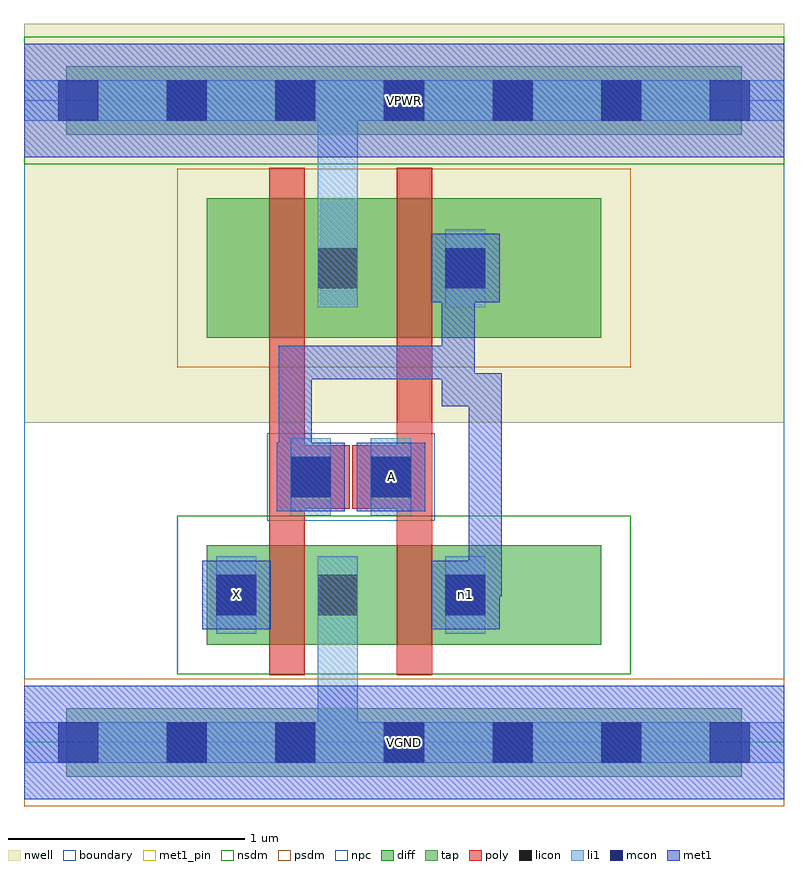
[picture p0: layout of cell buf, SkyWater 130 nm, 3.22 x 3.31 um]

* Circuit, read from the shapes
.subckt buf A VGND VPWR X n1
XM1 VGND n1 X VGND sky130_fd_pr__nfet_01v8 w=0.42 l=0.15
XM2 n1 A VGND VGND sky130_fd_pr__nfet_01v8 w=0.42 l=0.15
XM3 VPWR n1 n2 VPWR sky130_fd_pr__pfet_01v8 w=0.59 l=0.15
XM4 n1 A VPWR VPWR sky130_fd_pr__pfet_01v8 w=0.59 l=0.15
.ends

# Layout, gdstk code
import gdstk
lib = gdstk.Library(unit=1e-6, precision=1e-09)
def R(c, l, rs):  # rectangles x0, y0, x1, y1
    for r in rs: c.add(gdstk.rectangle(r[:2], r[2:], *l))
def A(c, l, x, y, w, h, nx, ny, dx, dy):  # array of equal rectangles
    R(c, l, [(x+i*dx, y+j*dy, x+i*dx+w, y+j*dy+h) for i in range(nx) for j in range(ny)])
nwell = (64, 20)
diff = (65, 20)
tap = (65, 44)
poly = (66, 20)
licon = (66, 44)
li1 = (67, 20)
mcon = (67, 44)
met1_pin = (68, 16)
met1 = (68, 20)
nsdm = (93, 44)
psdm = (94, 20)
npc = (95, 20)
boundary = (235, 4)

buf = lib.new_cell('buf')
R(buf, nwell, [(0,1.355,3.22,3.045)])
R(buf, diff, [(0.775,0.415,2.445,0.835), (0.775,1.715,2.445,2.305)])
R(buf, tap, [(0.18,-0.145,3.04,0.145), (0.18,2.575,3.04,2.865)])
R(buf, poly, [(1.04,0.285,1.19,2.435), (1.58,0.285,1.73,2.435), (1.05,0.99,1.38,1.26), (1.39,0.99,1.72,1.26)])
A(buf, licon, 0.605, -0.085, 0.17, 0.17, 5, 2, 0.46, 2.72)
R(buf, licon, [(0.815,0.54,0.985,0.71), (1.245,0.54,1.415,0.71), (1.785,0.54,1.955,0.71), (1.13,1.04,1.3,1.21), (1.47,1.04,1.64,1.21), (1.245,1.925,1.415,2.095), (1.785,1.925,1.955,2.095)])
R(buf, li1, [(0,-0.085,3.22,0.085), (1.245,-0.085,1.415,0.79), (0.815,0.46,0.985,0.79), (1.245,0.46,1.415,0.79), (1.785,0.46,1.955,0.79), (1.13,0.96,1.3,1.29), (1.47,0.96,1.64,1.29), (1.245,1.845,1.415,2.175), (1.245,1.845,1.415,2.805), (1.785,1.845,1.955,2.175), (0,2.635,3.22,2.805)])
A(buf, mcon, 0.145, -0.085, 0.17, 0.17, 7, 2, 0.46, 2.72)
R(buf, mcon, [(0.815,0.54,0.985,0.71), (1.785,0.54,1.955,0.71), (1.13,1.04,1.3,1.21), (1.47,1.04,1.64,1.21), (1.785,1.925,1.955,2.095)])
R(buf, met1_pin, [(0,-0.24,3.22,0.24), (0.755,0.48,1.045,0.77), (1.41,0.98,1.7,1.27), (0,2.48,3.22,2.96)])
R(buf, met1, [(0,-0.24,3.22,0.24), (0.755,0.48,1.045,0.77), (1.725,0.48,2.015,0.77), (1.77,0.62,1.91,0.76), (1.77,0.62,2.025,0.76), (1.885,0.62,2.025,1.565), (1.07,0.98,1.36,1.27), (1.41,0.98,1.7,1.27), (1.08,1.08,1.22,1.22), (1.08,1.08,1.22,1.68), (1.77,1.425,1.91,1.68), (1.77,1.425,2.025,1.565), (1.08,1.54,1.91,1.68), (1.77,1.54,1.91,2.025), (1.725,1.865,2.015,2.155), (1.77,1.885,1.91,2.025), (0,2.48,3.22,2.96)])
R(buf, nsdm, [(0.65,0.29,2.57,0.96), (0,2.45,3.22,2.99)])
R(buf, psdm, [(0,-0.27,3.22,0.27), (0.65,1.59,2.57,2.43)])
R(buf, npc, [(1.03,0.94,1.74,1.31)])
R(buf, boundary, [(0,0,3.22,2.72)])
buf.add(gdstk.Label('n1', (1.87,0.625), layer=67, texttype=5))
buf.add(gdstk.Label('A', (1.555,1.125), layer=68, texttype=5))
buf.add(gdstk.Label('X', (0.9,0.625), layer=68, texttype=5))
buf.add(gdstk.Label('VPWR', (1.61,2.72), layer=68, texttype=5))
buf.add(gdstk.Label('VGND', (1.61,0), layer=68, texttype=5))
buf.add(gdstk.Label('A', (1.555,1.125), layer=68, texttype=16))
buf.add(gdstk.Label('X', (0.9,0.625), layer=68, texttype=16))
buf.add(gdstk.Label('VPWR', (1.61,2.72), layer=68, texttype=16))
buf.add(gdstk.Label('VGND', (1.61,0), layer=68, texttype=16))

lib.write_gds('buf.gds')
